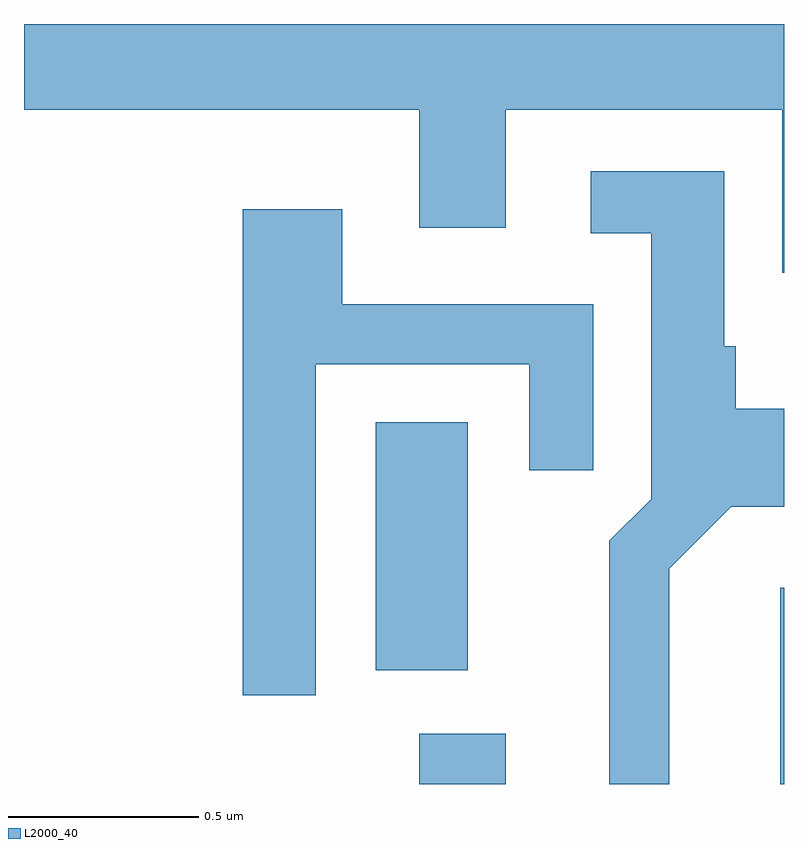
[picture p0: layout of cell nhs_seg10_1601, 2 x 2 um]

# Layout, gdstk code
import gdstk
lib = gdstk.Library(unit=1e-6, precision=1e-09)
def R(c, l, rs):  # rectangles x0, y0, x1, y1
    for r in rs: c.add(gdstk.rectangle(r[:2], r[2:], *l))
def P(c, l, *ps):  # polygons
    for p in ps: c.add(gdstk.Polygon(p, *l))
L2000_40 = (2000, 40)

nhs_seg10_1601 = lib.new_cell('nhs_seg10_1601')
R(nhs_seg10_1601, L2000_40, [(197.651,2176.522,197.879,2176.654), (198.601,2176.522,198.611,2177.039), (197.536,2176.821,197.779,2177.474)])
P(nhs_seg10_1601, L2000_40, [(198.611,2178.522),(196.611,2178.522),(196.611,2178.296),(197.651,2178.296),(197.651,2177.986),(197.879,2177.986),(197.879,2178.296),(198.606,2178.296),(198.606,2177.868),(198.611,2177.868)],
  [(198.309,2177.089),(198.472,2177.251),(198.611,2177.251),(198.611,2177.509),(198.484,2177.509),(198.484,2177.674),(198.454,2177.674),(198.454,2178.134),(198.103,2178.134),(198.103,2177.971),(198.261,2177.971),(198.261,2177.272),(198.151,2177.162),(198.151,2176.522),(198.309,2176.522)],
  [(197.379,2177.626),(197.941,2177.626),(197.941,2177.348),(198.109,2177.348),(198.109,2177.784),(197.449,2177.784),(197.449,2178.034),(197.186,2178.034),(197.186,2176.756),(197.379,2176.756)])

lib.write_gds('nhs_seg10_1601.gds')
